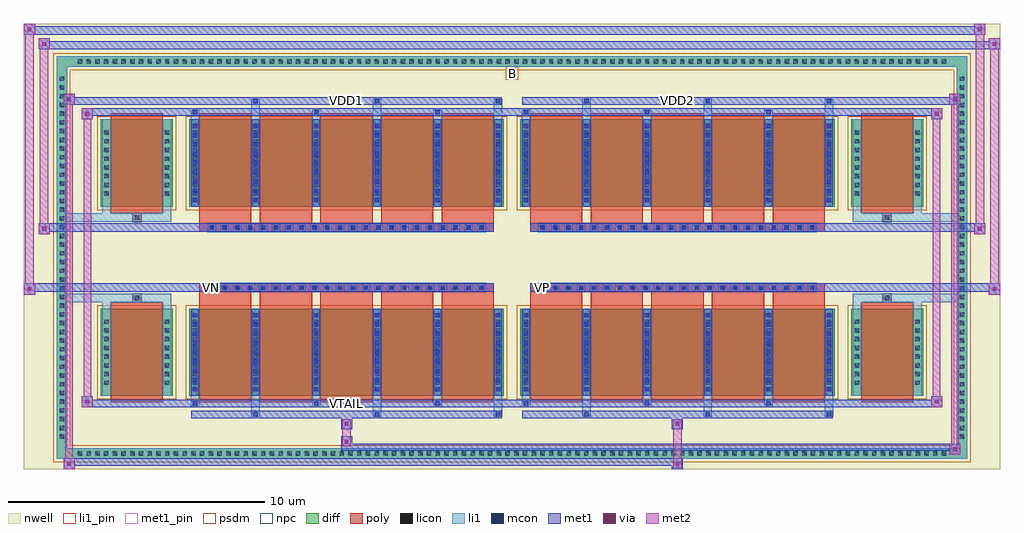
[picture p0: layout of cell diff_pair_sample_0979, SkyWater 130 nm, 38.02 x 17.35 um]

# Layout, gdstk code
import gdstk
lib = gdstk.Library(unit=1e-6, precision=5e-09)
def R(c, l, rs):  # rectangles x0, y0, x1, y1
    for r in rs: c.add(gdstk.rectangle(r[:2], r[2:], *l))
def A(c, l, x, y, w, h, nx, ny, dx, dy):  # array of equal rectangles
    R(c, l, [(x+i*dx, y+j*dy, x+i*dx+w, y+j*dy+h) for i in range(nx) for j in range(ny)])
def P(c, l, *ps):  # polygons
    for p in ps: c.add(gdstk.Polygon(p, *l))
nwell = (64, 20)
diff = (65, 20)
poly = (66, 20)
licon = (66, 44)
li1_pin = (67, 16)
li1 = (67, 20)
mcon = (67, 44)
met1_pin = (68, 16)
met1 = (68, 20)
via = (68, 44)
met2 = (69, 20)
psdm = (94, 20)
npc = (95, 20)

diff_pair_sample_0979 = lib.new_cell('diff_pair_sample_0979')
R(diff_pair_sample_0979, nwell, [(-19.01,-8.24,19.01,9.11), (-16.33,-6.43,-0.01,-0.805), (0.01,-6.43,16.33,-0.805), (-16.33,0.805,-0.01,6.43), (0.01,0.805,16.33,6.43)])
A(diff_pair_sample_0979, diff, -17.035, -7.84, 0.41, 0.41, 100, 2, 0.34, 15.27)
A(diff_pair_sample_0979, diff, -17.74, -7.175, 0.41, 0.41, 1, 42, 0, 0.34)
A(diff_pair_sample_0979, diff, 17.33, -7.175, 0.41, 0.41, 1, 42, 0, 0.34)
R(diff_pair_sample_0979, diff, [(-17.035,-7.84,17.035,-7.43), (-17.74,-7.175,-17.33,7.175), (17.33,-7.175,17.74,7.175), (-16.02,-5.385,-13.21,-1.985), (-12.57,-5.385,-0.32,-1.985), (0.32,-5.385,12.57,-1.985), (13.21,-5.385,16.02,-1.985), (-16.02,1.985,-13.21,5.385), (-12.57,1.985,-0.32,5.385), (0.32,1.985,12.57,5.385), (13.21,1.985,16.02,5.385), (-17.035,7.43,17.035,7.84)])
P(diff_pair_sample_0979, diff, [(17.74,7.84),(-17.74,7.84),(-17.74,-7.43),(-17.33,-7.43),(-17.33,7.43),(17.33,7.43),(17.33,-7.43),(-17.33,-7.43),(-17.74,-7.43),(-17.74,-7.84),(17.74,-7.84)])
A(diff_pair_sample_0979, poly, -12.18, -5.635, 2.03, 3.9, 5, 2, 2.36, 7.37)
A(diff_pair_sample_0979, poly, 0.71, -5.635, 2.03, 3.9, 5, 2, 2.36, 7.37)
A(diff_pair_sample_0979, poly, -12.18, -1.735, 2.03, 0.4, 5, 2, 2.36, 3.07)
A(diff_pair_sample_0979, poly, 0.71, -1.735, 2.03, 0.4, 5, 2, 2.36, 3.07)
A(diff_pair_sample_0979, poly, -11.86, -1.335, 0.33, 0.33, 22, 2, 0.5, 2.34)
A(diff_pair_sample_0979, poly, 1.03, -1.335, 0.33, 0.33, 22, 2, 0.5, 2.34)
R(diff_pair_sample_0979, poly, [(-15.63,-5.635,-13.6,-1.735), (13.6,-5.635,15.63,-1.735), (-14.78,-1.735,-14.45,-1.405), (-14.78,-1.735,-14.45,-1.405), (14.45,-1.735,14.78,-1.405), (14.45,-1.735,14.78,-1.405), (-12.18,-1.335,-0.71,-1.005), (0.71,-1.335,12.18,-1.005), (-12.18,1.005,-0.71,1.335), (0.71,1.005,12.18,1.335), (-14.78,1.405,-14.45,1.735), (-14.78,1.405,-14.45,1.735), (14.45,1.405,14.78,1.735), (14.45,1.405,14.78,1.735), (-15.63,1.735,-13.6,5.635), (13.6,1.735,15.63,5.635)])
A(diff_pair_sample_0979, licon, -16.915, -7.72, 0.17, 0.17, 100, 2, 0.34, 15.27)
A(diff_pair_sample_0979, licon, -17.62, -7.055, 0.17, 0.17, 1, 42, 0, 0.34)
A(diff_pair_sample_0979, licon, 17.45, -7.055, 0.17, 0.17, 1, 42, 0, 0.34)
A(diff_pair_sample_0979, licon, -15.88, -4.96, 0.17, 0.17, 1, 8, 0, 0.34)
A(diff_pair_sample_0979, licon, -13.52, -4.96, 0.17, 0.17, 1, 8, 0, 0.34)
A(diff_pair_sample_0979, licon, -12.43, -4.96, 0.17, 0.17, 6, 8, 2.36, 0.34)
A(diff_pair_sample_0979, licon, 0.46, -4.96, 0.17, 0.17, 6, 8, 2.36, 0.34)
A(diff_pair_sample_0979, licon, 13.35, -4.96, 0.17, 0.17, 1, 8, 0, 0.34)
A(diff_pair_sample_0979, licon, 15.71, -4.96, 0.17, 0.17, 1, 8, 0, 0.34)
A(diff_pair_sample_0979, licon, -11.78, -1.255, 0.17, 0.17, 22, 2, 0.5, 2.34)
A(diff_pair_sample_0979, licon, 1.11, -1.255, 0.17, 0.17, 22, 2, 0.5, 2.34)
A(diff_pair_sample_0979, licon, -15.88, 2.41, 0.17, 0.17, 1, 8, 0, 0.34)
A(diff_pair_sample_0979, licon, -13.52, 2.41, 0.17, 0.17, 1, 8, 0, 0.34)
A(diff_pair_sample_0979, licon, -12.43, 2.41, 0.17, 0.17, 6, 8, 2.36, 0.34)
A(diff_pair_sample_0979, licon, 0.46, 2.41, 0.17, 0.17, 6, 8, 2.36, 0.34)
A(diff_pair_sample_0979, licon, 13.35, 2.41, 0.17, 0.17, 1, 8, 0, 0.34)
A(diff_pair_sample_0979, licon, 15.71, 2.41, 0.17, 0.17, 1, 8, 0, 0.34)
R(diff_pair_sample_0979, licon, [(-14.7,-1.655,-14.53,-1.485), (14.53,-1.655,14.7,-1.485), (-14.7,1.485,-14.53,1.655), (14.53,1.485,14.7,1.655)])
R(diff_pair_sample_0979, li1_pin, [(-0.25,6.93,0.25,7.43)])
A(diff_pair_sample_0979, li1, -16.995, -7.8, 0.33, 0.33, 100, 2, 0.34, 15.27)
A(diff_pair_sample_0979, li1, -17.7, -7.135, 0.33, 0.33, 1, 42, 0, 0.34)
A(diff_pair_sample_0979, li1, 17.37, -7.135, 0.33, 0.33, 1, 42, 0, 0.34)
A(diff_pair_sample_0979, li1, -10.15, -6.19, 0.33, 0.805, 3, 2, 4.72, 11.575)
A(diff_pair_sample_0979, li1, -10.07, -6.19, 0.17, 0.17, 3, 2, 4.72, 12.21)
A(diff_pair_sample_0979, li1, 2.74, -6.19, 0.33, 0.805, 3, 2, 4.72, 11.575)
A(diff_pair_sample_0979, li1, 2.82, -6.19, 0.17, 0.17, 3, 2, 4.72, 12.21)
A(diff_pair_sample_0979, li1, -12.51, -5.76, 0.33, 0.375, 3, 2, 4.72, 11.145)
A(diff_pair_sample_0979, li1, -12.43, -5.76, 0.17, 0.17, 3, 2, 4.72, 11.35)
A(diff_pair_sample_0979, li1, 0.38, -5.76, 0.33, 0.375, 3, 2, 4.72, 11.145)
A(diff_pair_sample_0979, li1, 0.46, -5.76, 0.17, 0.17, 3, 2, 4.72, 11.35)
A(diff_pair_sample_0979, li1, -12.51, -5.385, 0.33, 3.4, 6, 2, 2.36, 7.37)
A(diff_pair_sample_0979, li1, 0.38, -5.385, 0.33, 3.4, 6, 2, 2.36, 7.37)
A(diff_pair_sample_0979, li1, -12.43, -5.21, 0.17, 0.17, 6, 9, 2.36, 0.36)
A(diff_pair_sample_0979, li1, -12.43, -5.21, 0.17, 3.05, 6, 2, 2.36, 7.37)
A(diff_pair_sample_0979, li1, 0.46, -5.21, 0.17, 0.17, 6, 9, 2.36, 0.36)
A(diff_pair_sample_0979, li1, 0.46, -5.21, 0.17, 3.05, 6, 2, 2.36, 7.37)
A(diff_pair_sample_0979, li1, -15.96, -5.04, 0.33, 0.33, 1, 8, 0, 0.34)
A(diff_pair_sample_0979, li1, -13.6, -5.04, 0.33, 0.33, 1, 8, 0, 0.34)
A(diff_pair_sample_0979, li1, -12.51, -5.04, 0.33, 0.33, 6, 8, 2.36, 0.34)
A(diff_pair_sample_0979, li1, 0.38, -5.04, 0.33, 0.33, 6, 8, 2.36, 0.34)
A(diff_pair_sample_0979, li1, 13.27, -5.04, 0.33, 0.33, 1, 8, 0, 0.34)
A(diff_pair_sample_0979, li1, 15.63, -5.04, 0.33, 0.33, 1, 8, 0, 0.34)
A(diff_pair_sample_0979, li1, -11.86, -1.335, 0.33, 0.33, 22, 2, 0.5, 2.34)
A(diff_pair_sample_0979, li1, 1.03, -1.335, 0.33, 0.33, 22, 2, 0.5, 2.34)
A(diff_pair_sample_0979, li1, -12.43, 2.16, 0.17, 0.17, 6, 9, 2.36, 0.36)
A(diff_pair_sample_0979, li1, 0.46, 2.16, 0.17, 0.17, 6, 9, 2.36, 0.36)
A(diff_pair_sample_0979, li1, -15.96, 2.33, 0.33, 0.33, 1, 8, 0, 0.34)
A(diff_pair_sample_0979, li1, -13.6, 2.33, 0.33, 0.33, 1, 8, 0, 0.34)
A(diff_pair_sample_0979, li1, -12.51, 2.33, 0.33, 0.33, 6, 8, 2.36, 0.34)
A(diff_pair_sample_0979, li1, 0.38, 2.33, 0.33, 0.33, 6, 8, 2.36, 0.34)
A(diff_pair_sample_0979, li1, 13.27, 2.33, 0.33, 0.33, 1, 8, 0, 0.34)
A(diff_pair_sample_0979, li1, 15.63, 2.33, 0.33, 0.33, 1, 8, 0, 0.34)
R(diff_pair_sample_0979, li1, [(-17.74,-7.84,-17.33,-7.43), (-17.74,-7.84,-17.33,-7.43), (-17.33,-7.84,17.33,-7.43), (17.33,-7.84,17.74,-7.43), (17.33,-7.84,17.74,-7.43), (-17.74,-7.43,-17.33,7.43), (17.33,-7.43,17.74,7.43), (-15.96,-5.385,-15.63,-1.985), (-13.6,-5.385,-13.27,-1.985), (13.27,-5.385,13.6,-1.985), (15.63,-5.385,15.96,-1.985), (-15.96,-1.985,-15.63,-1.405), (-13.6,-1.985,-13.27,-1.405), (13.27,-1.985,13.6,-1.405), (15.63,-1.985,15.96,-1.405), (-17.74,-1.735,-14.78,-1.405), (-15.96,-1.735,-14.78,-1.405), (-14.78,-1.735,-14.45,-1.405), (-14.45,-1.735,-13.27,-1.405), (13.27,-1.735,14.45,-1.405), (14.45,-1.735,14.78,-1.405), (14.45,-1.735,17.74,-1.405), (14.78,-1.735,15.96,-1.405), (-17.74,1.405,-14.78,1.735), (-15.96,1.405,-14.78,1.735), (-15.96,1.405,-15.63,1.985), (-14.78,1.405,-14.45,1.735), (-14.45,1.405,-13.27,1.735), (-13.6,1.405,-13.27,1.985), (13.27,1.405,14.45,1.735), (13.27,1.405,13.6,1.985), (14.45,1.405,14.78,1.735), (14.45,1.405,17.74,1.735), (14.78,1.405,15.96,1.735), (15.63,1.405,15.96,1.985), (-15.96,1.985,-15.63,5.385), (-13.6,1.985,-13.27,5.385), (13.27,1.985,13.6,5.385), (15.63,1.985,15.96,5.385), (-17.74,7.43,-17.33,7.84), (-17.74,7.43,-17.33,7.84), (-17.33,7.43,17.33,7.84), (17.33,7.43,17.74,7.84), (17.33,7.43,17.74,7.84)])
A(diff_pair_sample_0979, mcon, -10.07, -6.19, 0.17, 0.17, 3, 2, 4.72, 12.21)
A(diff_pair_sample_0979, mcon, 2.82, -6.19, 0.17, 0.17, 3, 2, 4.72, 12.21)
A(diff_pair_sample_0979, mcon, -12.43, -5.76, 0.17, 0.17, 3, 2, 4.72, 11.35)
A(diff_pair_sample_0979, mcon, 0.46, -5.76, 0.17, 0.17, 3, 2, 4.72, 11.35)
A(diff_pair_sample_0979, mcon, -12.43, -5.21, 0.17, 0.17, 6, 9, 2.36, 0.36)
A(diff_pair_sample_0979, mcon, 0.46, -5.21, 0.17, 0.17, 6, 9, 2.36, 0.36)
A(diff_pair_sample_0979, mcon, -11.78, -1.255, 0.17, 0.17, 22, 2, 0.5, 2.34)
A(diff_pair_sample_0979, mcon, 1.11, -1.255, 0.17, 0.17, 22, 2, 0.5, 2.34)
A(diff_pair_sample_0979, mcon, -12.43, 2.16, 0.17, 0.17, 6, 9, 2.36, 0.36)
A(diff_pair_sample_0979, mcon, 0.46, 2.16, 0.17, 0.17, 6, 9, 2.36, 0.36)
R(diff_pair_sample_0979, met1_pin, [(-6.58,-5.8,-6.31,-5.53), (-11.83,-1.295,-11.56,-1.025), (1.06,-1.295,1.33,-1.025), (-6.58,5.98,-6.31,6.25), (6.31,5.98,6.58,6.25)])
A(diff_pair_sample_0979, met1, -10.13, -6.25, 0.29, 0.29, 3, 2, 4.72, 12.21)
A(diff_pair_sample_0979, met1, 2.76, -6.25, 0.29, 0.29, 3, 2, 4.72, 12.21)
A(diff_pair_sample_0979, met1, -12.49, -5.82, 0.29, 0.29, 3, 2, 4.72, 11.35)
A(diff_pair_sample_0979, met1, 0.4, -5.82, 0.29, 0.29, 3, 2, 4.72, 11.35)
A(diff_pair_sample_0979, met1, -12.49, -5.385, 0.29, 3.4, 6, 2, 2.36, 7.37)
A(diff_pair_sample_0979, met1, 0.4, -5.385, 0.29, 3.4, 6, 2, 2.36, 7.37)
A(diff_pair_sample_0979, met1, -12.49, -5.27, 0.29, 0.29, 6, 9, 2.36, 0.36)
A(diff_pair_sample_0979, met1, 0.4, -5.27, 0.29, 0.29, 6, 9, 2.36, 0.36)
A(diff_pair_sample_0979, met1, -11.84, -1.315, 0.29, 0.29, 22, 2, 0.5, 2.34)
A(diff_pair_sample_0979, met1, 1.05, -1.315, 0.29, 0.29, 22, 2, 0.5, 2.34)
A(diff_pair_sample_0979, met1, -12.49, 2.1, 0.29, 0.29, 6, 9, 2.36, 0.36)
A(diff_pair_sample_0979, met1, 0.4, 2.1, 0.29, 0.29, 6, 9, 2.36, 0.36)
R(diff_pair_sample_0979, met1, [(-17.47,-8.24,-17.04,-7.81), (6.23,-8.24,6.66,-7.81), (-17.47,-8.1,6.66,-7.81), (17.04,-7.67,17.47,-7.24), (-6.66,-7.53,17.47,-7.24), (-6.66,-7.39,-6.23,-6.96), (-6.66,-6.68,-6.23,-6.25), (6.23,-6.68,6.66,-6.25), (-12.49,-6.25,-0.4,-5.96), (0.4,-6.25,12.49,-5.96), (-16.76,-5.82,-16.33,-5.39), (-16.76,-5.82,-12.49,-5.53), (-12.49,-5.82,-0.4,-5.53), (-0.4,-5.82,0.4,-5.53), (0.4,-5.82,12.49,-5.53), (12.49,-5.82,16.76,-5.53), (16.33,-5.82,16.76,-5.39), (-19.01,-1.435,-18.58,-1.005), (18.58,-1.435,19.01,-1.005), (-19.01,-1.335,-0.71,-1.005), (-12.18,-1.335,-0.71,-1.005), (0.71,-1.335,12.18,-1.005), (0.71,-1.335,19.01,-1.005), (-18.44,0.905,-18.01,1.335), (18.01,0.905,18.44,1.335), (-18.44,1.005,-12.18,1.335), (-12.18,1.005,-0.71,1.335), (0.71,1.005,12.18,1.335), (12.18,1.005,18.44,1.335), (-16.76,5.39,-16.33,5.82), (16.33,5.39,16.76,5.82), (-16.76,5.53,-12.49,5.82), (-12.49,5.53,-0.4,5.82), (-0.4,5.53,0.4,5.82), (0.4,5.53,12.49,5.82), (12.49,5.53,16.76,5.82), (-17.47,5.96,-17.04,6.39), (-17.47,5.96,-12.49,6.25), (-12.49,5.96,-0.4,6.25), (0.4,5.96,12.49,6.25), (12.49,5.96,17.47,6.25), (17.04,5.96,17.47,6.39), (-18.44,8.11,-18.01,8.54), (-18.44,8.11,-16.33,8.44), (-16.33,8.11,16.33,8.44), (16.33,8.11,19.01,8.44), (18.58,8.11,19.01,8.54), (-19.01,8.68,-18.58,9.11), (-19.01,8.68,-16.33,9.01), (-16.33,8.68,16.33,9.01), (16.33,8.68,18.44,9.01), (18.01,8.68,18.44,9.11)])
R(diff_pair_sample_0979, via, [(-17.33,-8.1,-17.18,-7.95), (6.37,-8.1,6.52,-7.95), (17.18,-7.53,17.33,-7.38), (-6.52,-7.25,-6.37,-7.1), (-6.52,-6.54,-6.37,-6.39), (6.37,-6.54,6.52,-6.39), (-16.62,-5.68,-16.47,-5.53), (16.47,-5.68,16.62,-5.53), (-18.87,-1.295,-18.72,-1.145), (18.72,-1.295,18.87,-1.145), (-18.3,1.045,-18.15,1.195), (18.15,1.045,18.3,1.195), (-16.62,5.53,-16.47,5.68), (16.47,5.53,16.62,5.68), (-17.33,6.1,-17.18,6.25), (17.18,6.1,17.33,6.25), (-18.3,8.25,-18.15,8.4), (18.72,8.25,18.87,8.4), (-18.87,8.82,-18.72,8.97), (18.15,8.82,18.3,8.97)])
R(diff_pair_sample_0979, met2, [(-17.47,-8.24,-17.04,-7.81), (-17.4,-8.24,-17.11,6.39), (-17.11,-8.24,-17.04,-7.81), (-17.42,-8.19,-17.09,-7.86), (6.28,-8.19,6.61,-7.86), (6.28,-7.86,6.61,-6.63), (17.04,-7.67,17.47,-7.24), (17.11,-7.67,17.4,6.39), (17.4,-7.67,17.47,-7.24), (17.09,-7.62,17.42,-7.29), (-6.61,-7.34,-6.28,-7.01), (-6.61,-7.01,-6.28,-6.63), (-6.61,-6.63,-6.28,-6.3), (6.28,-6.63,6.61,-6.3), (-16.76,-5.82,-16.33,-5.39), (-16.69,-5.82,-16.4,5.82), (-16.4,-5.82,-16.33,-5.39), (16.33,-5.82,16.76,-5.39), (16.4,-5.82,16.69,5.82), (16.69,-5.82,16.76,-5.39), (-16.71,-5.77,-16.38,-5.44), (16.38,-5.77,16.71,-5.44), (-19.01,-1.435,-18.58,-1.005), (-18.96,-1.435,-18.63,9.11), (-18.63,-1.435,-18.58,-1.005), (18.58,-1.435,19.01,-1.005), (18.63,-1.435,18.96,8.54), (18.96,-1.435,19.01,-1.005), (-18.96,-1.385,-18.63,-1.055), (18.63,-1.385,18.96,-1.055), (-18.44,0.905,-18.01,1.335), (-18.39,0.905,-18.06,8.54), (-18.06,0.905,-18.01,1.335), (18.01,0.905,18.44,1.335), (18.06,0.905,18.39,9.11), (18.39,0.905,18.44,1.335), (-18.39,0.955,-18.06,1.285), (18.06,0.955,18.39,1.285), (-16.76,5.39,-16.33,5.82), (-16.4,5.39,-16.33,5.82), (16.33,5.39,16.76,5.82), (16.69,5.39,16.76,5.82), (-16.71,5.44,-16.38,5.77), (16.38,5.44,16.71,5.77), (-17.47,5.96,-17.04,6.39), (-17.11,5.96,-17.04,6.39), (17.04,5.96,17.47,6.39), (17.4,5.96,17.47,6.39), (-17.42,6.01,-17.09,6.34), (17.09,6.01,17.42,6.34), (-18.44,8.11,-18.01,8.54), (-18.06,8.11,-18.01,8.54), (18.58,8.11,19.01,8.54), (18.96,8.11,19.01,8.54), (-18.39,8.16,-18.06,8.49), (18.63,8.16,18.96,8.49), (-19.01,8.68,-18.58,9.11), (-18.63,8.68,-18.58,9.11), (18.01,8.68,18.44,9.11), (18.39,8.68,18.44,9.11), (-18.96,8.73,-18.63,9.06), (18.06,8.73,18.39,9.06)])
R(diff_pair_sample_0979, psdm, [(-16.15,-5.515,-13.08,-1.855), (-12.7,-5.515,-0.19,-1.855), (0.19,-5.515,12.7,-1.855), (13.08,-5.515,16.15,-1.855), (-16.15,1.855,-13.08,5.515), (-12.7,1.855,-0.19,5.515), (0.19,1.855,12.7,5.515), (13.08,1.855,16.15,5.515)])
P(diff_pair_sample_0979, psdm, [(17.87,7.97),(-17.87,7.97),(-17.87,-7.3),(-17.2,-7.3),(-17.2,7.3),(17.2,7.3),(17.2,-7.3),(-17.2,-7.3),(-17.87,-7.3),(-17.87,-7.97),(17.87,-7.97)])
A(diff_pair_sample_0979, npc, -11.88, -1.355, 0.37, 0.37, 22, 2, 0.5, 2.34)
A(diff_pair_sample_0979, npc, 1.01, -1.355, 0.37, 0.37, 22, 2, 0.5, 2.34)
R(diff_pair_sample_0979, npc, [(-14.8,-1.755,-14.43,-1.385), (14.43,-1.755,14.8,-1.385), (-11.88,-1.355,-11.01,-0.985), (-11.88,-1.355,-11.01,-0.985), (-11.38,-1.355,-10.51,-0.985), (-11.38,-1.355,-10.51,-0.985), (-10.88,-1.355,-10.01,-0.985), (-10.88,-1.355,-10.01,-0.985), (-10.38,-1.355,-9.51,-0.985), (-10.38,-1.355,-9.51,-0.985), (-9.88,-1.355,-9.01,-0.985), (-9.88,-1.355,-9.01,-0.985), (-9.38,-1.355,-8.51,-0.985), (-9.38,-1.355,-8.51,-0.985), (-8.88,-1.355,-8.01,-0.985), (-8.88,-1.355,-8.01,-0.985), (-8.38,-1.355,-7.51,-0.985), (-8.38,-1.355,-7.51,-0.985), (-7.88,-1.355,-7.01,-0.985), (-7.88,-1.355,-7.01,-0.985), (-7.38,-1.355,-6.51,-0.985), (-7.38,-1.355,-6.51,-0.985), (-6.88,-1.355,-6.01,-0.985), (-6.88,-1.355,-6.01,-0.985), (-6.38,-1.355,-5.51,-0.985), (-6.38,-1.355,-5.51,-0.985), (-5.88,-1.355,-5.01,-0.985), (-5.88,-1.355,-5.01,-0.985), (-5.38,-1.355,-4.51,-0.985), (-5.38,-1.355,-4.51,-0.985), (-4.88,-1.355,-4.01,-0.985), (-4.88,-1.355,-4.01,-0.985), (-4.38,-1.355,-3.51,-0.985), (-4.38,-1.355,-3.51,-0.985), (-3.88,-1.355,-3.01,-0.985), (-3.88,-1.355,-3.01,-0.985), (-3.38,-1.355,-2.51,-0.985), (-3.38,-1.355,-2.51,-0.985), (-2.88,-1.355,-2.01,-0.985), (-2.88,-1.355,-2.01,-0.985), (-2.38,-1.355,-1.51,-0.985), (-2.38,-1.355,-1.51,-0.985), (-1.88,-1.355,-1.01,-0.985), (-1.88,-1.355,-1.01,-0.985), (1.01,-1.355,1.88,-0.985), (1.01,-1.355,1.88,-0.985), (1.51,-1.355,2.38,-0.985), (1.51,-1.355,2.38,-0.985), (2.01,-1.355,2.88,-0.985), (2.01,-1.355,2.88,-0.985), (2.51,-1.355,3.38,-0.985), (2.51,-1.355,3.38,-0.985), (3.01,-1.355,3.88,-0.985), (3.01,-1.355,3.88,-0.985), (3.51,-1.355,4.38,-0.985), (3.51,-1.355,4.38,-0.985), (4.01,-1.355,4.88,-0.985), (4.01,-1.355,4.88,-0.985), (4.51,-1.355,5.38,-0.985), (4.51,-1.355,5.38,-0.985), (5.01,-1.355,5.88,-0.985), (5.01,-1.355,5.88,-0.985), (5.51,-1.355,6.38,-0.985), (5.51,-1.355,6.38,-0.985), (6.01,-1.355,6.88,-0.985), (6.01,-1.355,6.88,-0.985), (6.51,-1.355,7.38,-0.985), (6.51,-1.355,7.38,-0.985), (7.01,-1.355,7.88,-0.985), (7.01,-1.355,7.88,-0.985), (7.51,-1.355,8.38,-0.985), (7.51,-1.355,8.38,-0.985), (8.01,-1.355,8.88,-0.985), (8.01,-1.355,8.88,-0.985), (8.51,-1.355,9.38,-0.985), (8.51,-1.355,9.38,-0.985), (9.01,-1.355,9.88,-0.985), (9.01,-1.355,9.88,-0.985), (9.51,-1.355,10.38,-0.985), (9.51,-1.355,10.38,-0.985), (10.01,-1.355,10.88,-0.985), (10.01,-1.355,10.88,-0.985), (10.51,-1.355,11.38,-0.985), (10.51,-1.355,11.38,-0.985), (11.01,-1.355,11.88,-0.985), (11.01,-1.355,11.88,-0.985), (-11.88,0.985,-11.01,1.355), (-11.88,0.985,-11.01,1.355), (-11.38,0.985,-10.51,1.355), (-11.38,0.985,-10.51,1.355), (-10.88,0.985,-10.01,1.355), (-10.88,0.985,-10.01,1.355), (-10.38,0.985,-9.51,1.355), (-10.38,0.985,-9.51,1.355), (-9.88,0.985,-9.01,1.355), (-9.88,0.985,-9.01,1.355), (-9.38,0.985,-8.51,1.355), (-9.38,0.985,-8.51,1.355), (-8.88,0.985,-8.01,1.355), (-8.88,0.985,-8.01,1.355), (-8.38,0.985,-7.51,1.355), (-8.38,0.985,-7.51,1.355), (-7.88,0.985,-7.01,1.355), (-7.88,0.985,-7.01,1.355), (-7.38,0.985,-6.51,1.355), (-7.38,0.985,-6.51,1.355), (-6.88,0.985,-6.01,1.355), (-6.88,0.985,-6.01,1.355), (-6.38,0.985,-5.51,1.355), (-6.38,0.985,-5.51,1.355), (-5.88,0.985,-5.01,1.355), (-5.88,0.985,-5.01,1.355), (-5.38,0.985,-4.51,1.355), (-5.38,0.985,-4.51,1.355), (-4.88,0.985,-4.01,1.355), (-4.88,0.985,-4.01,1.355), (-4.38,0.985,-3.51,1.355), (-4.38,0.985,-3.51,1.355), (-3.88,0.985,-3.01,1.355), (-3.88,0.985,-3.01,1.355), (-3.38,0.985,-2.51,1.355), (-3.38,0.985,-2.51,1.355), (-2.88,0.985,-2.01,1.355), (-2.88,0.985,-2.01,1.355), (-2.38,0.985,-1.51,1.355), (-2.38,0.985,-1.51,1.355), (-1.88,0.985,-1.01,1.355), (-1.88,0.985,-1.01,1.355), (1.01,0.985,1.88,1.355), (1.01,0.985,1.88,1.355), (1.51,0.985,2.38,1.355), (1.51,0.985,2.38,1.355), (2.01,0.985,2.88,1.355), (2.01,0.985,2.88,1.355), (2.51,0.985,3.38,1.355), (2.51,0.985,3.38,1.355), (3.01,0.985,3.88,1.355), (3.01,0.985,3.88,1.355), (3.51,0.985,4.38,1.355), (3.51,0.985,4.38,1.355), (4.01,0.985,4.88,1.355), (4.01,0.985,4.88,1.355), (4.51,0.985,5.38,1.355), (4.51,0.985,5.38,1.355), (5.01,0.985,5.88,1.355), (5.01,0.985,5.88,1.355), (5.51,0.985,6.38,1.355), (5.51,0.985,6.38,1.355), (6.01,0.985,6.88,1.355), (6.01,0.985,6.88,1.355), (6.51,0.985,7.38,1.355), (6.51,0.985,7.38,1.355), (7.01,0.985,7.88,1.355), (7.01,0.985,7.88,1.355), (7.51,0.985,8.38,1.355), (7.51,0.985,8.38,1.355), (8.01,0.985,8.88,1.355), (8.01,0.985,8.88,1.355), (8.51,0.985,9.38,1.355), (8.51,0.985,9.38,1.355), (9.01,0.985,9.88,1.355), (9.01,0.985,9.88,1.355), (9.51,0.985,10.38,1.355), (9.51,0.985,10.38,1.355), (10.01,0.985,10.88,1.355), (10.01,0.985,10.88,1.355), (10.51,0.985,11.38,1.355), (10.51,0.985,11.38,1.355), (11.01,0.985,11.88,1.355), (11.01,0.985,11.88,1.355), (-14.8,1.385,-14.43,1.755), (14.43,1.385,14.8,1.755)])
diff_pair_sample_0979.add(gdstk.Label('VTAIL', (-6.445,-5.665), layer=68, texttype=5))
diff_pair_sample_0979.add(gdstk.Label('VN', (-11.695,-1.16), layer=68, texttype=5))
diff_pair_sample_0979.add(gdstk.Label('VP', (1.195,-1.16), layer=68, texttype=5))
diff_pair_sample_0979.add(gdstk.Label('B', (0,7.18), layer=67, texttype=5))
diff_pair_sample_0979.add(gdstk.Label('VDD2', (6.445,6.115), layer=68, texttype=5))
diff_pair_sample_0979.add(gdstk.Label('VDD1', (-6.445,6.115), layer=68, texttype=5))

lib.write_gds('diff_pair_sample_0979.gds')
